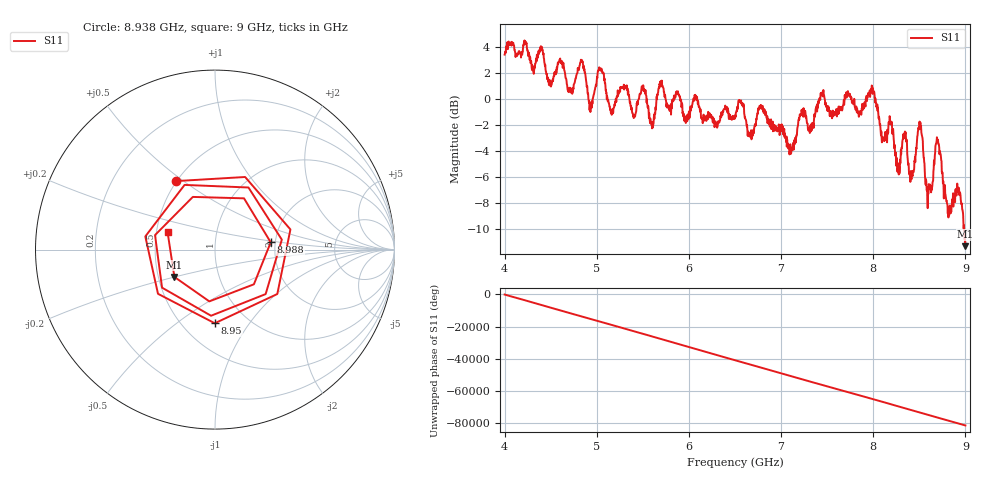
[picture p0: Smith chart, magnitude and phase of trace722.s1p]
! Created with skrf 1.8.0 (http://scikit-rf.org).
# Hz S RI R 50.0
!freq ReS11 ImS11
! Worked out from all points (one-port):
!   1601 points, 4 GHz to 9 GHz, reference 50 ohm
!   lowest |S11| = -11.3 dB at 8.997 GHz (marker M1), VSWR 1.75, Z = 30.3 - j9.97 ohm
!   |S11| at or under -10 dB: 8.987142 GHz to end of sweep
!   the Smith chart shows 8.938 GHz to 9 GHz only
!   S11 on the Smith chart (normalised r, x): 8.938 GHz: 0.49, +0.47; 8.95 GHz: 0.71, -0.70; 8.988 GHz: 1.89, +0.17; 9 GHz: 0.57, +0.12
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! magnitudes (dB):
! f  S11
! 4 GHz  3.4
! 4.625 GHz  2.9
! 4.716 GHz  0.5
! 4.841 GHz  2.9
! 4.934 GHz  -0.5
! 5.034 GHz  2.4
! 5.159 GHz  -1.0
! 5.25 GHz  0.7
! 5.6 GHz  -2.2
! 5.691 GHz  1.0
! 5.875 GHz  0.5
! 6.5 GHz  -1.4
! 7.125 GHz  -3.9
! 7.441 GHz  0.5
! 7.75 GHz  0.2
! 7.988 GHz  1.0
! 8.262 GHz  -5.6
! 8.375 GHz  -4.7
! 8.419 GHz  -5.6
! 8.509 GHz  -2.0
! 8.603 GHz  -6.5
! 8.7 GHz  -3.1
! 8.816 GHz  -9.1
! 8.938 GHz  -7.1
! 8.95 GHz  -7.7
! 8.988 GHz  -10.1
! 8.997 GHz  -11.3
! 9 GHz  -11.0
